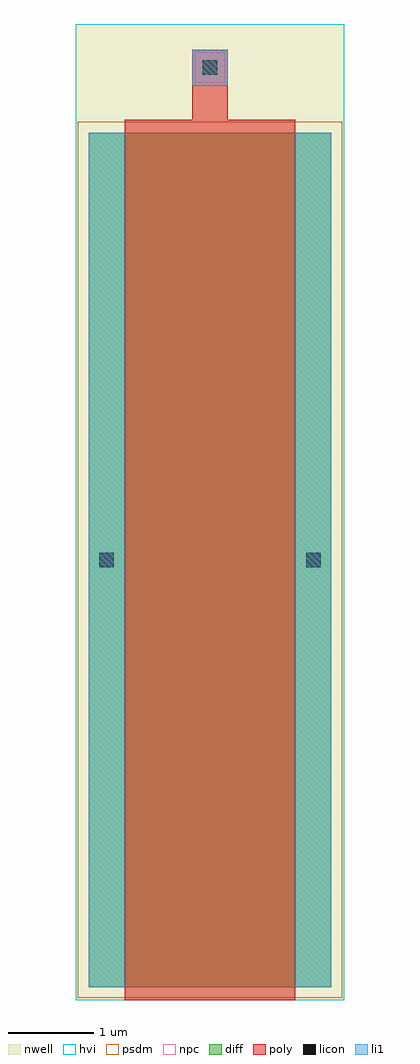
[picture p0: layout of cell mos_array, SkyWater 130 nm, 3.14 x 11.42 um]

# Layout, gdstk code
import gdstk
lib = gdstk.Library(unit=1e-6, precision=1e-09)
def R(c, l, rs):  # rectangles x0, y0, x1, y1
    for r in rs: c.add(gdstk.rectangle(r[:2], r[2:], *l))
nwell = (64, 20)
diff = (65, 20)
poly = (66, 20)
licon = (66, 44)
li1 = (67, 20)
hvi = (75, 20)
psdm = (94, 20)
npc = (95, 20)

mos_array = lib.new_cell('mos_array')
R(mos_array, nwell, [(-0.15,-0.15,2.99,11.27)])
R(mos_array, diff, [(0,0,2.84,10)])
R(mos_array, poly, [(0.42,-0.15,2.42,10), (0.42,10,2.42,10.15), (0.42,10,2.42,10.15), (1.21,10.15,1.63,10.97)])
R(mos_array, licon, [(0.125,4.915,0.295,5.085), (2.545,4.915,2.715,5.085), (1.335,10.675,1.505,10.845)])
R(mos_array, li1, [(0,0,0.42,10), (2.42,0,2.84,10), (1.21,10.55,1.63,10.97)])
R(mos_array, hvi, [(-0.15,-0.15,2.99,11.27)])
R(mos_array, psdm, [(-0.125,-0.125,2.965,10.125)])
R(mos_array, npc, [(1.24,10.58,1.6,10.94)])

lib.write_gds('mos_array.gds')
